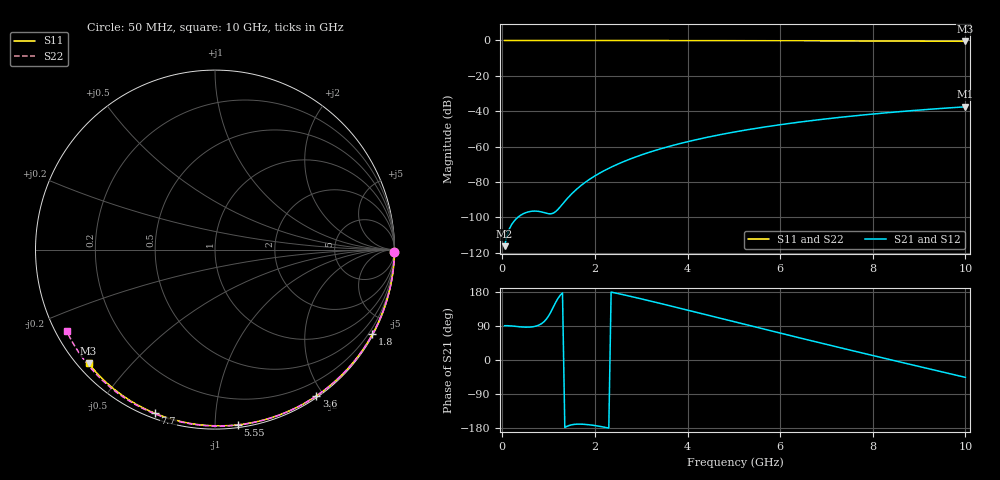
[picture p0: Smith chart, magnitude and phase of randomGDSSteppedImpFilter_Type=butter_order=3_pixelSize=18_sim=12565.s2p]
! freq	dB(S11)	phase(S11)	dB(S12)	phase(S12)
!  dB(S21)	phase(S21)	dB(S22)	phase(S22)
!S-par simulation data
#  GHz  S  DB  R 50
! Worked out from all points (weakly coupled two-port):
!   200 points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, 50 MHz to 10 GHz, reference 50 ohm
!   highest |S21| = -37.52 dB at 10 GHz (marker M1); lowest = -116.3 dB at 50 MHz (marker M2)
!   lowest |S11| = -0.5 dB at 10 GHz (marker M3), VSWR 37.06, Z = 1.55 - j19.2 ohm
!   |S11| at or under -10 dB: nowhere
!   |S22| runs from -0.5 to 0.0 dB; largest |S21 - S12| = 0
!   S11 on the Smith chart (normalised r, x): 50 MHz: open; 1.8 GHz: 0.03, -3.97; 3.6 GHz: 0.02, -1.91; 5.55 GHz: 0.02, -1.14; 7.7 GHz: 0.02, -0.70; 10 GHz: 0.03, -0.38
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0.05  -0.00 -0.8  -116.32 90.4  -116.32 90.4  -0.00 -0.9
0.45  -0.01 -7.2  -98.02 86.9  -98.02 86.9  -0.01 -7.8
0.9  -0.02 -14.3  -97.33 101.0  -97.33 101.0  -0.02 -15.6
1.3  -0.03 -20.6  -92.53 177.2  -92.53 177.2  -0.03 -22.4
1.75  -0.04 -27.5  -81.01 -169.6  -81.01 -169.6  -0.04 -30.0
1.8  -0.04 -28.3  -80.04 -170.0  -80.04 -170.0  -0.04 -30.9
1.95  -0.04 -30.6  -77.39 -172.1  -77.39 -172.1  -0.04 -33.4
2.15  -0.04 -33.7  -74.32 -176.1  -74.32 -176.1  -0.05 -36.7
2.5  -0.05 -39.0  -69.84 175.3  -69.84 175.3  -0.05 -42.5
2.9  -0.06 -45.0  -65.67 164.3  -65.67 164.3  -0.06 -49.0
3.4  -0.07 -52.4  -61.41 149.6  -61.41 149.6  -0.08 -57.0
3.6  -0.07 -55.3  -59.92 143.7  -59.92 143.7  -0.08 -60.2
4.3  -0.09 -65.3  -55.45 122.5  -55.45 122.5  -0.10 -71.0
5.05  -0.12 -75.7  -51.58 99.7  -51.58 99.7  -0.13 -82.3
5.55  -0.14 -82.5  -49.40 84.6  -49.40 84.6  -0.15 -89.7
6.1  -0.16 -89.8  -47.28 68.0  -47.28 68.0  -0.17 -97.6
6.7  -0.19 -97.5  -45.24 50.1  -45.24 50.1  -0.21 -106.1
7.2  -0.22 -103.9  -43.73 35.3  -43.73 35.3  -0.24 -113.0
7.7  -0.25 -110.1  -42.36 20.6  -42.36 20.6  -0.28 -119.9
8.35  -0.30 -118.1  -40.77 1.7  -40.77 1.7  -0.33 -128.7
9.2  -0.38 -128.4  -38.96 -22.9  -38.96 -22.9  -0.42 -140.3
10  -0.47 -138.0  -37.52 -45.8  -37.52 -45.8  -0.51 -151.3
